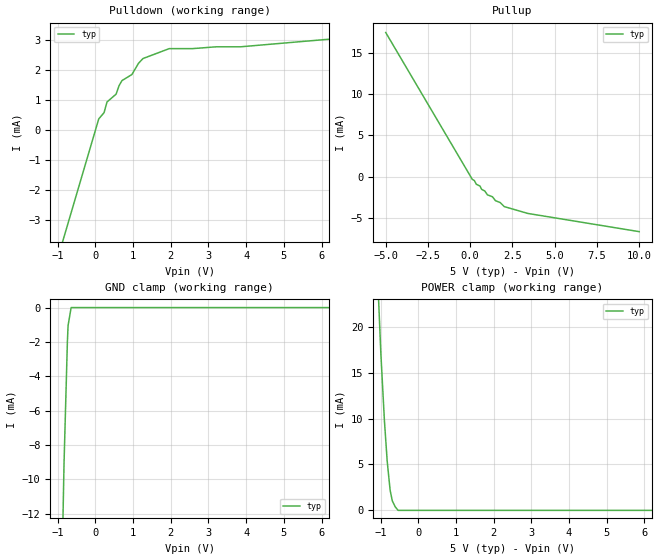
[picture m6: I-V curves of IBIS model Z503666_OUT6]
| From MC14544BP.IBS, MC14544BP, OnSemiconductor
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| (C) COPYRIGHT 1993-2000
| MENTOR GRAPHICS CORPORATION
| ICX STANDARD LIBRARY, ICX PROJECT MODELING,
| ICX CUSTOM MODELING, ICX VENDOR MODEL
| ALL RIGHTS RESERVED.
| THE FOLLOWING ARE TRADEMARKS OR SERVICE MARKS OF
| MENTOR GRAPHICS CORPORATION:ICX (R), ICX STANDARD
| LIBRARY(R), ICX PROJECT MODELING(R), ICX CUSTOM
| MODELING(R), qualityIBIS(TM), MODELVIEWER(TM),
| AND MODELEDITOR(TM)
| ALL COPIES OF SOFTWARE, INCLUDING BUT NOT LIMITED TO
| ANY MODIFICATIONS, ENHANCEMENTS OR DERIVATIVE WORKS,
| MUST CONTAIN ALL MENTOR GRAPHICS CORPORATION'S
| NOTICES AND LEGENDS, INCLUDING THOSE EMBEDDED IN
| SOFTWARE AND THOSE AFFIXED TO SOFTWARE MEDIUM
| AND CONTAINER, AS RECEIVED FROM MENTOR GRAPHICS
| CORPORATION.
| Model Application Version 1.89 2/18/99.
[Model] Z503666_OUT6
Model_type Output
Vref=0.000V
Rref=500.0Mohms
Cref=50.00pF
Vmeas=2.500V
C_comp 8.000pF NA NA
| variable typ   min   max
[Voltage Range] 5.000V NA NA
[POWER Clamp Reference] 5.000V NA NA
[Pullup Reference] 5.000V NA NA
[Pulldown Reference] 0.000V NA NA
[GND Clamp Reference] 0.000V NA NA
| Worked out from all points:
|   slope of the pulldown table from 0 to 0.75 V, typ, clamps not added: 445 ohm
|   slope of the pullup table from 0 to 0.75 V, typ, clamps not added: 438 ohm
|   GND clamp passes 1 mA (typ) near -0.72 V on its own axis
|   POWER clamp passes 1 mA (typ) near -0.68 V on its own axis
[GND Clamp]
-5V       -579.9mA   NA         NA
-1.103V   -39.4mA    NA         NA
-834.9mV  -9.074mA   NA         NA
-745.6mV  -1.975mA   NA         NA
-727.3mV  -1.046mA   NA         NA
-646.5mV  0A         NA         NA
10V       0A         NA         NA
[Pulldown]
-5V       -21.36mA   NA         NA
87.01mV   359.2uA    NA         NA
228.1mV   566.4uA    NA         NA
305.9mV   922.9uA    NA         NA
547.6mV   1.184mA    NA         NA
703.2mV   1.636mA    NA         NA
966.8mV   1.838mA    NA         NA
1.142V    2.212mA    NA         NA
1.262V    2.372mA    NA         NA
1.958V    2.702mA    NA         NA
3.844V    2.762mA    NA         NA
10V       3.427mA    NA         NA
[Pullup]
-5V       17.42mA    NA         NA
126mV     -298.4uA   NA         NA
362mV     -882.7uA   NA         NA
582mV     -1.103mA   NA         NA
679mV     -1.504mA   NA         NA
1.02V     -2.159mA   NA         NA
1.32V     -2.396mA   NA         NA
1.495V    -2.863mA   NA         NA
1.777V    -3.093mA   NA         NA
2.016V    -3.579mA   NA         NA
3.408V    -4.403mA   NA         NA
10V       -6.6mA     NA         NA
[POWER Clamp]
-5V       471.1mA    NA         NA
-1.172V   34.49mA    NA         NA
-992mV    17mA       NA         NA
-898mV    9.749mA    NA         NA
-825mV    5.372mA    NA         NA
-747mV    2.192mA    NA         NA
-689mV    1.038mA    NA         NA
-612mV    387.3uA    NA         NA
-535.5mV  0A         NA         NA
10V       0A         NA         NA
[Ramp]
| variable typ min max
dV/dt_r 2.496/17.10n NA NA
dV/dt_f 2.496/12.74n NA NA
R_load = 2.500kOhms
